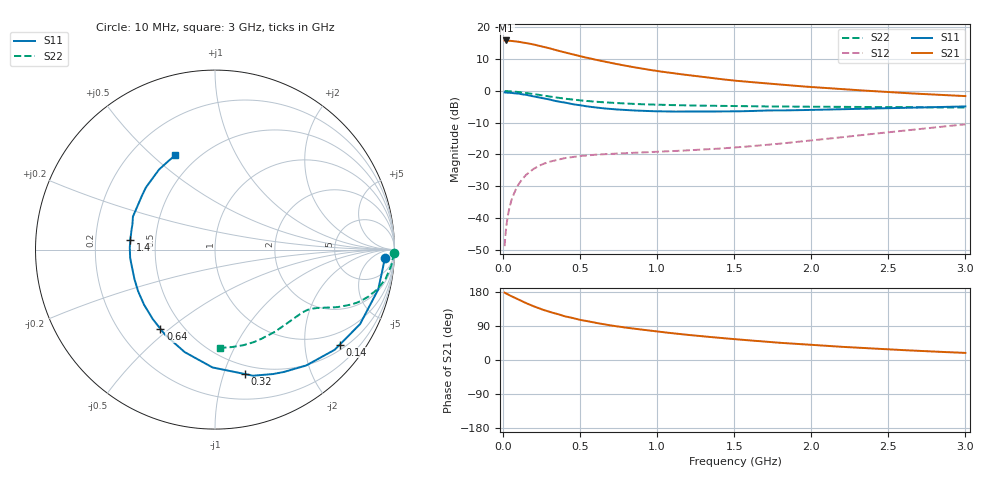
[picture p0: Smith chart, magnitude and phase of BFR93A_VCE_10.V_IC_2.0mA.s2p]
! Infineon Technologies  Discrete & RF Semiconductors
! BFR93A
! VCE =  10. V,  IC =  2.0 mA
! Common Emitter S-Parameters:  Nov 2015
# GHz  S  MA  R  50
!  f  S11  S21  S12  S22
! GHz  MAG  ANG  MAG  ANG  MAG  ANG  MAG  ANG
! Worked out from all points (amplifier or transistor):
!   180 points, 10 MHz to 3 GHz, reference 50 ohm
!   highest |S21| = 15.9 dB at 20 MHz (marker M1)
!   |S21| within 3 dB of that: start of sweep to 340.5 MHz
!   unconditionally stable (mu >= 1): 996.1 MHz to 2.508 GHz
!   at 160 MHz: K = 0.20, MSG = 20.5 dB, |S12| = -26.0 dB
!   at 1.22 GHz: K = 1.11, MAG = 9.7 dB, |S12| = -18.7 dB
!   at 3 GHz: K = 0.89, MSG = 4.4 dB, |S12| = -10.5 dB
!   S11 on the Smith chart (normalised r, x): 10 MHz: 20, -18; 140 MHz: 0.63, -2.84; 320 MHz: 0.42, -1.18; 640 MHz: 0.38, -0.47; 1.4 GHz: 0.36, +0.05; 3 GHz: 0.38, +0.60
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0.01  0.9475 -2.8  6.208 177.7  0.0036 87.8  0.9962 -1.1
0.02  0.9425 -5.5  6.229 175.6  0.0071 85.1  0.994 -2.0
0.035  0.9367 -9.6  6.186 172.4  0.0123 82.8  0.99 -3.5
0.06  0.9264 -16.4  6.107 167.3  0.0207 79.5  0.9817 -6.0
0.1  0.9085 -27.2  5.952 159.6  0.0337 74.6  0.9641 -9.8
0.14  0.8738 -37.3  5.724 151.9  0.045 68.6  0.9359 -13.1
0.15  0.8696 -39.9  5.684 149.9  0.0479 67.5  0.9293 -13.9
0.2  0.8216 -51.8  5.375 141.5  0.0596 61.9  0.8916 -17.2
0.24  0.7824 -60.6  5.094 135.3  0.0673 57.5  0.8611 -19.4
0.3  0.734 -73.2  4.695 127.1  0.0767 52.9  0.8171 -22.0
0.32  0.7133 -76.5  4.551 125.0  0.0788 51.6  0.8045 -22.6
0.4  0.6568 -91.2  4.044 115.4  0.0875 46.9  0.755 -25.1
0.52  0.584 -109.0  3.43 104.5  0.0954 42.6  0.7024 -27.4
0.64  0.5359 -124.6  2.958 95.4  0.1005 40.6  0.6658 -29.2
0.7  0.5201 -131.7  2.757 91.1  0.1025 40.0  0.6513 -30.0
0.8  0.5007 -142.1  2.477 85.2  0.1049 40.1  0.6327 -31.4
1.02  0.4763 -161.4  2.025 74.2  0.1103 41.9  0.6052 -34.8
1.4  0.4749 173.3  1.548 58.7  0.1234 48.7  0.5819 -41.9
1.52  0.4777 166.9  1.439 54.4  0.1295 51.0  0.5761 -44.6
2.02  0.5037 145.0  1.142 39.5  0.1676 59.3  0.5633 -56.8
2.52  0.5369 127.4  0.953 27.8  0.2267 62.0  0.5561 -71.1
3  0.5706 112.7  0.829 18.7  0.298 59.6  0.5491 -87.1
